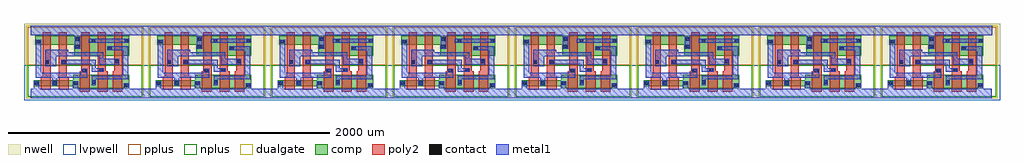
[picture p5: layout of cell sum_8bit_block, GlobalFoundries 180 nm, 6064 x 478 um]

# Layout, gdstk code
import gdstk
lib = gdstk.Library(unit=1e-6, precision=1e-07)
def R(c, l, rs):  # rectangles x0, y0, x1, y1
    for r in rs: c.add(gdstk.rectangle(r[:2], r[2:], *l))
def P(c, l, *ps):  # polygons
    for p in ps: c.add(gdstk.Polygon(p, *l))
nwell = (21, 0)
comp = (22, 0)
poly2 = (30, 0)
pplus = (31, 0)
nplus = (32, 0)
contact = (33, 0)
metal1 = (34, 0)
dualgate = (55, 0)
lvpwell = (204, 0)

sum_2bit_block = lib.new_cell('sum_2bit_block')
R(sum_2bit_block, nwell, [(-43,176,715,435)])
P(sum_2bit_block, comp, [(264,34),(264,46.5),(18,46.5),(18,82.5),(264,82.5),(264,116),(612,116),(612,34)],
  [(269,236),(269,302),(28,302),(28,358),(612,358),(612,236)])
P(sum_2bit_block, poly2, [(62,24.5),(62,104.5),(72,104.5),(72,380),(122,380),(122,24.5)],
  [(174,24.5),(174,380),(224,380),(224,104.5),(234,104.5),(234,24.5)],
  [(304,12),(304,138),(314,138),(314,380),(364,380),(364,12)],
  [(416,12),(416,380),(466,380),(466,138),(476,138),(476,12)],
  [(508,12),(508,138),(518,138),(518,380),(568,380),(568,12)])
R(sum_2bit_block, pplus, [(-20,176,692,412)])
R(sum_2bit_block, nplus, [(-20,-20,692,176)])
R(sum_2bit_block, contact, [(583,41,605,63), (25,53.5,47,75.5), (137,53.5,159,75.5), (267,53.5,289,75.5), (379,62,401,84), (323,133,345,155), (423,134.5,445,156.5), (90,185,112,207), (193.5,185,215.5,207), (525,187.5,547,209.5), (481,270,503,292), (277,282,299,304), (35,312,57,334), (379,316.5,401,338.5), (583,316.5,605,338.5), (277,329,299,351)])
R(sum_2bit_block, metal1, [(359,315.5,612,339)])
P(sum_2bit_block, metal1, [(271,279),(271,362),(0,362),(0,422),(664.1,422),(664.1,362),(305,362),(305,279)],
  [(0,-30),(0,30),(19,30),(19,76),(53,76),(53,30),(261,30),(261,76),(295,76),(295,30),(577,30),(577,63.5),(611,63.5),(611,30),(664,30),(664,-30)],
  [(131,53),(131,99),(29,99),(29,335),(63,335),(63,129),(317,129),(317,155.5),(351,155.5),(351,99),(165,99),(165,53)],
  [(378.5,134),(378.5,182),(187.5,182),(187.5,210),(401.5,210),(401.5,157),(452.5,157),(452.5,134)],
  [(88,169),(88,273),(232.5,273),(232.5,256),(449.5,256),(449.5,215.5),(549,215.5),(549,180),(425.5,180),(425.5,233),(156,233),(156,169)],
  [(378.5,53),(378.5,111),(572,111),(572,269.5),(475,269.5),(475,292.5),(604,292.5),(604,87.5),(401.5,87.5),(401.5,53)])
R(sum_2bit_block, dualgate, [(-28,-28,700,420)])
R(sum_2bit_block, lvpwell, [(-43,-43,715,176)])
sum_2bit_block.add(gdstk.Label('VDD', (336,391.5), layer=34, texttype=10))
sum_2bit_block.add(gdstk.Label('VSS', (336,0), layer=34, texttype=10))
sum_2bit_block.add(gdstk.Label('IN0_C-1', (358.7,196.5), layer=34, texttype=10))
sum_2bit_block.add(gdstk.Label('VDD', (336,391.5), layer=34, texttype=10))
sum_2bit_block.add(gdstk.Label('VSS', (336,0), layer=34, texttype=10))
sum_2bit_block.add(gdstk.Label('OUT_S0', (588.8,153.6), layer=34, texttype=10))
sum_2bit_block.add(gdstk.Label('IN1_P0', (196.3,252), layer=34, texttype=10))
sum_2bit_block.add(gdstk.Label('& Vendor GLOBALFOUNDRIES', (0,200), layer=63, texttype=63))
sum_2bit_block.add(gdstk.Label('& Product GF018hv5v_mcu_sc7', (0,150), layer=63, texttype=63))
sum_2bit_block.add(gdstk.Label('& Version 2015q2v1', (0,100), layer=63, texttype=63))
sum_2bit_block.add(gdstk.Label('& Metric 1.00', (0,50), layer=63, texttype=63))

sum_2bit_block_1 = lib.new_cell('sum_2bit_block$1')
R(sum_2bit_block_1, nwell, [(-43,176,715,435)])
P(sum_2bit_block_1, comp, [(264,34),(264,46.5),(18,46.5),(18,82.5),(264,82.5),(264,116),(612,116),(612,34)],
  [(269,236),(269,302),(28,302),(28,358),(612,358),(612,236)])
P(sum_2bit_block_1, poly2, [(62,24.5),(62,104.5),(72,104.5),(72,380),(122,380),(122,24.5)],
  [(174,24.5),(174,380),(224,380),(224,104.5),(234,104.5),(234,24.5)],
  [(304,12),(304,138),(314,138),(314,380),(364,380),(364,12)],
  [(416,12),(416,380),(466,380),(466,138),(476,138),(476,12)],
  [(508,12),(508,138),(518,138),(518,380),(568,380),(568,12)])
R(sum_2bit_block_1, pplus, [(-20,176,692,412)])
R(sum_2bit_block_1, nplus, [(-20,-20,692,176)])
R(sum_2bit_block_1, contact, [(583,41,605,63), (25,53.5,47,75.5), (137,53.5,159,75.5), (267,53.5,289,75.5), (379,62,401,84), (323,133,345,155), (423,134.5,445,156.5), (90,185,112,207), (193.5,185,215.5,207), (525,187.5,547,209.5), (481,270,503,292), (277,282,299,304), (35,312,57,334), (379,316.5,401,338.5), (583,316.5,605,338.5), (277,329,299,351)])
R(sum_2bit_block_1, metal1, [(359,315.5,612,339)])
P(sum_2bit_block_1, metal1, [(271,279),(271,362),(0,362),(0,422),(664.1,422),(664.1,362),(305,362),(305,279)],
  [(0,-30),(0,30),(19,30),(19,76),(53,76),(53,30),(261,30),(261,76),(295,76),(295,30),(577,30),(577,63.5),(611,63.5),(611,30),(664,30),(664,-30)],
  [(131,53),(131,99),(29,99),(29,335),(63,335),(63,129),(317,129),(317,155.5),(351,155.5),(351,99),(165,99),(165,53)],
  [(378.5,134),(378.5,182),(187.5,182),(187.5,210),(401.5,210),(401.5,157),(452.5,157),(452.5,134)],
  [(88,169),(88,273),(232.5,273),(232.5,256),(449.5,256),(449.5,215.5),(549,215.5),(549,180),(425.5,180),(425.5,233),(156,233),(156,169)],
  [(378.5,53),(378.5,111),(572,111),(572,269.5),(475,269.5),(475,292.5),(604,292.5),(604,87.5),(401.5,87.5),(401.5,53)])
R(sum_2bit_block_1, dualgate, [(-28,-28,700,420)])
R(sum_2bit_block_1, lvpwell, [(-43,-43,715,176)])
sum_2bit_block_1.add(gdstk.Label('VDD', (336,391.5), layer=34, texttype=10))
sum_2bit_block_1.add(gdstk.Label('VSS', (336,0), layer=34, texttype=10))
sum_2bit_block_1.add(gdstk.Label('IN0_C0', (358.7,196.5), layer=34, texttype=10))
sum_2bit_block_1.add(gdstk.Label('VDD', (336,391.5), layer=34, texttype=10))
sum_2bit_block_1.add(gdstk.Label('VSS', (336,0), layer=34, texttype=10))
sum_2bit_block_1.add(gdstk.Label('OUT_S1', (588,149.5), layer=34, texttype=10))
sum_2bit_block_1.add(gdstk.Label('IN1_P1', (196.3,252), layer=34, texttype=10))
sum_2bit_block_1.add(gdstk.Label('& Vendor GLOBALFOUNDRIES', (0,200), layer=63, texttype=63))
sum_2bit_block_1.add(gdstk.Label('& Product GF018hv5v_mcu_sc7', (0,150), layer=63, texttype=63))
sum_2bit_block_1.add(gdstk.Label('& Version 2015q2v1', (0,100), layer=63, texttype=63))
sum_2bit_block_1.add(gdstk.Label('& Metric 1.00', (0,50), layer=63, texttype=63))

sum_2bit_block_2 = lib.new_cell('sum_2bit_block$2')
R(sum_2bit_block_2, nwell, [(-43,176,715,435)])
P(sum_2bit_block_2, comp, [(264,34),(264,46.5),(18,46.5),(18,82.5),(264,82.5),(264,116),(612,116),(612,34)],
  [(269,236),(269,302),(28,302),(28,358),(612,358),(612,236)])
P(sum_2bit_block_2, poly2, [(62,24.5),(62,104.5),(72,104.5),(72,380),(122,380),(122,24.5)],
  [(174,24.5),(174,380),(224,380),(224,104.5),(234,104.5),(234,24.5)],
  [(304,12),(304,138),(314,138),(314,380),(364,380),(364,12)],
  [(416,12),(416,380),(466,380),(466,138),(476,138),(476,12)],
  [(508,12),(508,138),(518,138),(518,380),(568,380),(568,12)])
R(sum_2bit_block_2, pplus, [(-20,176,692,412)])
R(sum_2bit_block_2, nplus, [(-20,-20,692,176)])
R(sum_2bit_block_2, contact, [(583,41,605,63), (25,53.5,47,75.5), (137,53.5,159,75.5), (267,53.5,289,75.5), (379,62,401,84), (323,133,345,155), (423,134.5,445,156.5), (90,185,112,207), (193.5,185,215.5,207), (525,187.5,547,209.5), (481,270,503,292), (277,282,299,304), (35,312,57,334), (379,316.5,401,338.5), (583,316.5,605,338.5), (277,329,299,351)])
R(sum_2bit_block_2, metal1, [(359,315.5,612,339)])
P(sum_2bit_block_2, metal1, [(271,279),(271,362),(0,362),(0,422),(664.1,422),(664.1,362),(305,362),(305,279)],
  [(0,-30),(0,30),(19,30),(19,76),(53,76),(53,30),(261,30),(261,76),(295,76),(295,30),(577,30),(577,63.5),(611,63.5),(611,30),(664,30),(664,-30)],
  [(131,53),(131,99),(29,99),(29,335),(63,335),(63,129),(317,129),(317,155.5),(351,155.5),(351,99),(165,99),(165,53)],
  [(378.5,134),(378.5,182),(187.5,182),(187.5,210),(401.5,210),(401.5,157),(452.5,157),(452.5,134)],
  [(88,169),(88,273),(232.5,273),(232.5,256),(449.5,256),(449.5,215.5),(549,215.5),(549,180),(425.5,180),(425.5,233),(156,233),(156,169)],
  [(378.5,53),(378.5,111),(572,111),(572,269.5),(475,269.5),(475,292.5),(604,292.5),(604,87.5),(401.5,87.5),(401.5,53)])
R(sum_2bit_block_2, dualgate, [(-28,-28,700,420)])
R(sum_2bit_block_2, lvpwell, [(-43,-43,715,176)])
sum_2bit_block_2.add(gdstk.Label('VDD', (336,391.5), layer=34, texttype=10))
sum_2bit_block_2.add(gdstk.Label('VSS', (336,0), layer=34, texttype=10))
sum_2bit_block_2.add(gdstk.Label('IN0_C1', (358.7,196.5), layer=34, texttype=10))
sum_2bit_block_2.add(gdstk.Label('VDD', (336,391.5), layer=34, texttype=10))
sum_2bit_block_2.add(gdstk.Label('VSS', (336,0), layer=34, texttype=10))
sum_2bit_block_2.add(gdstk.Label('OUT_S2', (588.1,138.9), layer=34, texttype=10))
sum_2bit_block_2.add(gdstk.Label('IN1_P2', (196.3,252), layer=34, texttype=10))
sum_2bit_block_2.add(gdstk.Label('& Vendor GLOBALFOUNDRIES', (0,200), layer=63, texttype=63))
sum_2bit_block_2.add(gdstk.Label('& Product GF018hv5v_mcu_sc7', (0,150), layer=63, texttype=63))
sum_2bit_block_2.add(gdstk.Label('& Version 2015q2v1', (0,100), layer=63, texttype=63))
sum_2bit_block_2.add(gdstk.Label('& Metric 1.00', (0,50), layer=63, texttype=63))

sum_2bit_block_3 = lib.new_cell('sum_2bit_block$3')
R(sum_2bit_block_3, nwell, [(-43,176,715,435)])
P(sum_2bit_block_3, comp, [(264,34),(264,46.5),(18,46.5),(18,82.5),(264,82.5),(264,116),(612,116),(612,34)],
  [(269,236),(269,302),(28,302),(28,358),(612,358),(612,236)])
P(sum_2bit_block_3, poly2, [(62,24.5),(62,104.5),(72,104.5),(72,380),(122,380),(122,24.5)],
  [(174,24.5),(174,380),(224,380),(224,104.5),(234,104.5),(234,24.5)],
  [(304,12),(304,138),(314,138),(314,380),(364,380),(364,12)],
  [(416,12),(416,380),(466,380),(466,138),(476,138),(476,12)],
  [(508,12),(508,138),(518,138),(518,380),(568,380),(568,12)])
R(sum_2bit_block_3, pplus, [(-20,176,692,412)])
R(sum_2bit_block_3, nplus, [(-20,-20,692,176)])
R(sum_2bit_block_3, contact, [(583,41,605,63), (25,53.5,47,75.5), (137,53.5,159,75.5), (267,53.5,289,75.5), (379,62,401,84), (323,133,345,155), (423,134.5,445,156.5), (90,185,112,207), (193.5,185,215.5,207), (525,187.5,547,209.5), (481,270,503,292), (277,282,299,304), (35,312,57,334), (379,316.5,401,338.5), (583,316.5,605,338.5), (277,329,299,351)])
R(sum_2bit_block_3, metal1, [(359,315.5,612,339)])
P(sum_2bit_block_3, metal1, [(271,279),(271,362),(0,362),(0,422),(664.1,422),(664.1,362),(305,362),(305,279)],
  [(0,-30),(0,30),(19,30),(19,76),(53,76),(53,30),(261,30),(261,76),(295,76),(295,30),(577,30),(577,63.5),(611,63.5),(611,30),(664,30),(664,-30)],
  [(131,53),(131,99),(29,99),(29,335),(63,335),(63,129),(317,129),(317,155.5),(351,155.5),(351,99),(165,99),(165,53)],
  [(378.5,134),(378.5,182),(187.5,182),(187.5,210),(401.5,210),(401.5,157),(452.5,157),(452.5,134)],
  [(88,169),(88,273),(232.5,273),(232.5,256),(449.5,256),(449.5,215.5),(549,215.5),(549,180),(425.5,180),(425.5,233),(156,233),(156,169)],
  [(378.5,53),(378.5,111),(572,111),(572,269.5),(475,269.5),(475,292.5),(604,292.5),(604,87.5),(401.5,87.5),(401.5,53)])
R(sum_2bit_block_3, dualgate, [(-28,-28,700,420)])
R(sum_2bit_block_3, lvpwell, [(-43,-43,715,176)])
sum_2bit_block_3.add(gdstk.Label('VDD', (336,391.5), layer=34, texttype=10))
sum_2bit_block_3.add(gdstk.Label('VSS', (336,0), layer=34, texttype=10))
sum_2bit_block_3.add(gdstk.Label('IN0_C2', (358.7,196.5), layer=34, texttype=10))
sum_2bit_block_3.add(gdstk.Label('VDD', (336,391.5), layer=34, texttype=10))
sum_2bit_block_3.add(gdstk.Label('VSS', (336,0), layer=34, texttype=10))
sum_2bit_block_3.add(gdstk.Label('OUT_S3', (588.3,135.5), layer=34, texttype=10))
sum_2bit_block_3.add(gdstk.Label('IN1_P3', (196.3,252), layer=34, texttype=10))
sum_2bit_block_3.add(gdstk.Label('& Vendor GLOBALFOUNDRIES', (0,200), layer=63, texttype=63))
sum_2bit_block_3.add(gdstk.Label('& Product GF018hv5v_mcu_sc7', (0,150), layer=63, texttype=63))
sum_2bit_block_3.add(gdstk.Label('& Version 2015q2v1', (0,100), layer=63, texttype=63))
sum_2bit_block_3.add(gdstk.Label('& Metric 1.00', (0,50), layer=63, texttype=63))

sum_4bit_block = lib.new_cell('sum_4bit_block')
sum_4bit_block.add(gdstk.Reference(sum_2bit_block, (23,23)))
sum_4bit_block.add(gdstk.Reference(sum_2bit_block_1, (781,23)))
sum_4bit_block.add(gdstk.Reference(sum_2bit_block_2, (1539,23)))
sum_4bit_block.add(gdstk.Reference(sum_2bit_block_3, (2297,23)))

sum_2bit_block_5 = lib.new_cell('sum_2bit_block$5')
R(sum_2bit_block_5, nwell, [(-43,176,715,435)])
P(sum_2bit_block_5, comp, [(264,34),(264,46.5),(18,46.5),(18,82.5),(264,82.5),(264,116),(612,116),(612,34)],
  [(269,236),(269,302),(28,302),(28,358),(612,358),(612,236)])
P(sum_2bit_block_5, poly2, [(62,24.5),(62,104.5),(72,104.5),(72,380),(122,380),(122,24.5)],
  [(174,24.5),(174,380),(224,380),(224,104.5),(234,104.5),(234,24.5)],
  [(304,12),(304,138),(314,138),(314,380),(364,380),(364,12)],
  [(416,12),(416,380),(466,380),(466,138),(476,138),(476,12)],
  [(508,12),(508,138),(518,138),(518,380),(568,380),(568,12)])
R(sum_2bit_block_5, pplus, [(-20,176,692,412)])
R(sum_2bit_block_5, nplus, [(-20,-20,692,176)])
R(sum_2bit_block_5, contact, [(583,41,605,63), (25,53.5,47,75.5), (137,53.5,159,75.5), (267,53.5,289,75.5), (379,62,401,84), (323,133,345,155), (423,134.5,445,156.5), (90,185,112,207), (193.5,185,215.5,207), (525,187.5,547,209.5), (481,270,503,292), (277,282,299,304), (35,312,57,334), (379,316.5,401,338.5), (583,316.5,605,338.5), (277,329,299,351)])
R(sum_2bit_block_5, metal1, [(359,315.5,612,339)])
P(sum_2bit_block_5, metal1, [(271,279),(271,362),(0,362),(0,422),(664.1,422),(664.1,362),(305,362),(305,279)],
  [(0,-30),(0,30),(19,30),(19,76),(53,76),(53,30),(261,30),(261,76),(295,76),(295,30),(577,30),(577,63.5),(611,63.5),(611,30),(664,30),(664,-30)],
  [(131,53),(131,99),(29,99),(29,335),(63,335),(63,129),(317,129),(317,155.5),(351,155.5),(351,99),(165,99),(165,53)],
  [(378.5,134),(378.5,182),(187.5,182),(187.5,210),(401.5,210),(401.5,157),(452.5,157),(452.5,134)],
  [(88,169),(88,273),(232.5,273),(232.5,256),(449.5,256),(449.5,215.5),(549,215.5),(549,180),(425.5,180),(425.5,233),(156,233),(156,169)],
  [(378.5,53),(378.5,111),(572,111),(572,269.5),(475,269.5),(475,292.5),(604,292.5),(604,87.5),(401.5,87.5),(401.5,53)])
R(sum_2bit_block_5, dualgate, [(-28,-28,700,420)])
R(sum_2bit_block_5, lvpwell, [(-43,-43,715,176)])
sum_2bit_block_5.add(gdstk.Label('OUT_S4', (588.8,153.6), layer=34, texttype=10))
sum_2bit_block_5.add(gdstk.Label('VDD', (336,391.5), layer=34, texttype=10))
sum_2bit_block_5.add(gdstk.Label('VSS', (336,0), layer=34, texttype=10))
sum_2bit_block_5.add(gdstk.Label('IN0_C-1', (358.7,196.5), layer=34, texttype=10))
sum_2bit_block_5.add(gdstk.Label('VDD', (336,391.5), layer=34, texttype=10))
sum_2bit_block_5.add(gdstk.Label('VSS', (336,0), layer=34, texttype=10))
sum_2bit_block_5.add(gdstk.Label('IN1_P0', (196.3,252), layer=34, texttype=10))
sum_2bit_block_5.add(gdstk.Label('& Vendor GLOBALFOUNDRIES', (0,200), layer=63, texttype=63))
sum_2bit_block_5.add(gdstk.Label('& Product GF018hv5v_mcu_sc7', (0,150), layer=63, texttype=63))
sum_2bit_block_5.add(gdstk.Label('& Version 2015q2v1', (0,100), layer=63, texttype=63))
sum_2bit_block_5.add(gdstk.Label('& Metric 1.00', (0,50), layer=63, texttype=63))

sum_2bit_block_1_2 = lib.new_cell('sum_2bit_block$1$2')
R(sum_2bit_block_1_2, nwell, [(-43,176,715,435)])
P(sum_2bit_block_1_2, comp, [(264,34),(264,46.5),(18,46.5),(18,82.5),(264,82.5),(264,116),(612,116),(612,34)],
  [(269,236),(269,302),(28,302),(28,358),(612,358),(612,236)])
P(sum_2bit_block_1_2, poly2, [(62,24.5),(62,104.5),(72,104.5),(72,380),(122,380),(122,24.5)],
  [(174,24.5),(174,380),(224,380),(224,104.5),(234,104.5),(234,24.5)],
  [(304,12),(304,138),(314,138),(314,380),(364,380),(364,12)],
  [(416,12),(416,380),(466,380),(466,138),(476,138),(476,12)],
  [(508,12),(508,138),(518,138),(518,380),(568,380),(568,12)])
R(sum_2bit_block_1_2, pplus, [(-20,176,692,412)])
R(sum_2bit_block_1_2, nplus, [(-20,-20,692,176)])
R(sum_2bit_block_1_2, contact, [(583,41,605,63), (25,53.5,47,75.5), (137,53.5,159,75.5), (267,53.5,289,75.5), (379,62,401,84), (323,133,345,155), (423,134.5,445,156.5), (90,185,112,207), (193.5,185,215.5,207), (525,187.5,547,209.5), (481,270,503,292), (277,282,299,304), (35,312,57,334), (379,316.5,401,338.5), (583,316.5,605,338.5), (277,329,299,351)])
R(sum_2bit_block_1_2, metal1, [(359,315.5,612,339)])
P(sum_2bit_block_1_2, metal1, [(271,279),(271,362),(0,362),(0,422),(664.1,422),(664.1,362),(305,362),(305,279)],
  [(0,-30),(0,30),(19,30),(19,76),(53,76),(53,30),(261,30),(261,76),(295,76),(295,30),(577,30),(577,63.5),(611,63.5),(611,30),(664,30),(664,-30)],
  [(131,53),(131,99),(29,99),(29,335),(63,335),(63,129),(317,129),(317,155.5),(351,155.5),(351,99),(165,99),(165,53)],
  [(378.5,134),(378.5,182),(187.5,182),(187.5,210),(401.5,210),(401.5,157),(452.5,157),(452.5,134)],
  [(88,169),(88,273),(232.5,273),(232.5,256),(449.5,256),(449.5,215.5),(549,215.5),(549,180),(425.5,180),(425.5,233),(156,233),(156,169)],
  [(378.5,53),(378.5,111),(572,111),(572,269.5),(475,269.5),(475,292.5),(604,292.5),(604,87.5),(401.5,87.5),(401.5,53)])
R(sum_2bit_block_1_2, dualgate, [(-28,-28,700,420)])
R(sum_2bit_block_1_2, lvpwell, [(-43,-43,715,176)])
sum_2bit_block_1_2.add(gdstk.Label('OUT_S5', (588,149.5), layer=34, texttype=10))
sum_2bit_block_1_2.add(gdstk.Label('VDD', (336,391.5), layer=34, texttype=10))
sum_2bit_block_1_2.add(gdstk.Label('VSS', (336,0), layer=34, texttype=10))
sum_2bit_block_1_2.add(gdstk.Label('IN0_C0', (358.7,196.5), layer=34, texttype=10))
sum_2bit_block_1_2.add(gdstk.Label('VDD', (336,391.5), layer=34, texttype=10))
sum_2bit_block_1_2.add(gdstk.Label('VSS', (336,0), layer=34, texttype=10))
sum_2bit_block_1_2.add(gdstk.Label('IN1_P1', (196.3,252), layer=34, texttype=10))
sum_2bit_block_1_2.add(gdstk.Label('& Vendor GLOBALFOUNDRIES', (0,200), layer=63, texttype=63))
sum_2bit_block_1_2.add(gdstk.Label('& Product GF018hv5v_mcu_sc7', (0,150), layer=63, texttype=63))
sum_2bit_block_1_2.add(gdstk.Label('& Version 2015q2v1', (0,100), layer=63, texttype=63))
sum_2bit_block_1_2.add(gdstk.Label('& Metric 1.00', (0,50), layer=63, texttype=63))

sum_2bit_block_2_2 = lib.new_cell('sum_2bit_block$2$2')
R(sum_2bit_block_2_2, nwell, [(-43,176,715,435)])
P(sum_2bit_block_2_2, comp, [(264,34),(264,46.5),(18,46.5),(18,82.5),(264,82.5),(264,116),(612,116),(612,34)],
  [(269,236),(269,302),(28,302),(28,358),(612,358),(612,236)])
P(sum_2bit_block_2_2, poly2, [(62,24.5),(62,104.5),(72,104.5),(72,380),(122,380),(122,24.5)],
  [(174,24.5),(174,380),(224,380),(224,104.5),(234,104.5),(234,24.5)],
  [(304,12),(304,138),(314,138),(314,380),(364,380),(364,12)],
  [(416,12),(416,380),(466,380),(466,138),(476,138),(476,12)],
  [(508,12),(508,138),(518,138),(518,380),(568,380),(568,12)])
R(sum_2bit_block_2_2, pplus, [(-20,176,692,412)])
R(sum_2bit_block_2_2, nplus, [(-20,-20,692,176)])
R(sum_2bit_block_2_2, contact, [(583,41,605,63), (25,53.5,47,75.5), (137,53.5,159,75.5), (267,53.5,289,75.5), (379,62,401,84), (323,133,345,155), (423,134.5,445,156.5), (90,185,112,207), (193.5,185,215.5,207), (525,187.5,547,209.5), (481,270,503,292), (277,282,299,304), (35,312,57,334), (379,316.5,401,338.5), (583,316.5,605,338.5), (277,329,299,351)])
R(sum_2bit_block_2_2, metal1, [(359,315.5,612,339)])
P(sum_2bit_block_2_2, metal1, [(271,279),(271,362),(0,362),(0,422),(664.1,422),(664.1,362),(305,362),(305,279)],
  [(0,-30),(0,30),(19,30),(19,76),(53,76),(53,30),(261,30),(261,76),(295,76),(295,30),(577,30),(577,63.5),(611,63.5),(611,30),(664,30),(664,-30)],
  [(131,53),(131,99),(29,99),(29,335),(63,335),(63,129),(317,129),(317,155.5),(351,155.5),(351,99),(165,99),(165,53)],
  [(378.5,134),(378.5,182),(187.5,182),(187.5,210),(401.5,210),(401.5,157),(452.5,157),(452.5,134)],
  [(88,169),(88,273),(232.5,273),(232.5,256),(449.5,256),(449.5,215.5),(549,215.5),(549,180),(425.5,180),(425.5,233),(156,233),(156,169)],
  [(378.5,53),(378.5,111),(572,111),(572,269.5),(475,269.5),(475,292.5),(604,292.5),(604,87.5),(401.5,87.5),(401.5,53)])
R(sum_2bit_block_2_2, dualgate, [(-28,-28,700,420)])
R(sum_2bit_block_2_2, lvpwell, [(-43,-43,715,176)])
sum_2bit_block_2_2.add(gdstk.Label('OUT_S6', (588.1,138.9), layer=34, texttype=10))
sum_2bit_block_2_2.add(gdstk.Label('VDD', (336,391.5), layer=34, texttype=10))
sum_2bit_block_2_2.add(gdstk.Label('VSS', (336,0), layer=34, texttype=10))
sum_2bit_block_2_2.add(gdstk.Label('IN0_C1', (358.7,196.5), layer=34, texttype=10))
sum_2bit_block_2_2.add(gdstk.Label('VDD', (336,391.5), layer=34, texttype=10))
sum_2bit_block_2_2.add(gdstk.Label('VSS', (336,0), layer=34, texttype=10))
sum_2bit_block_2_2.add(gdstk.Label('IN1_P2', (196.3,252), layer=34, texttype=10))
sum_2bit_block_2_2.add(gdstk.Label('& Vendor GLOBALFOUNDRIES', (0,200), layer=63, texttype=63))
sum_2bit_block_2_2.add(gdstk.Label('& Product GF018hv5v_mcu_sc7', (0,150), layer=63, texttype=63))
sum_2bit_block_2_2.add(gdstk.Label('& Version 2015q2v1', (0,100), layer=63, texttype=63))
sum_2bit_block_2_2.add(gdstk.Label('& Metric 1.00', (0,50), layer=63, texttype=63))

sum_2bit_block_3_1 = lib.new_cell('sum_2bit_block$3$1')
R(sum_2bit_block_3_1, nwell, [(-43,176,715,435)])
P(sum_2bit_block_3_1, comp, [(264,34),(264,46.5),(18,46.5),(18,82.5),(264,82.5),(264,116),(612,116),(612,34)],
  [(269,236),(269,302),(28,302),(28,358),(612,358),(612,236)])
P(sum_2bit_block_3_1, poly2, [(62,24.5),(62,104.5),(72,104.5),(72,380),(122,380),(122,24.5)],
  [(174,24.5),(174,380),(224,380),(224,104.5),(234,104.5),(234,24.5)],
  [(304,12),(304,138),(314,138),(314,380),(364,380),(364,12)],
  [(416,12),(416,380),(466,380),(466,138),(476,138),(476,12)],
  [(508,12),(508,138),(518,138),(518,380),(568,380),(568,12)])
R(sum_2bit_block_3_1, pplus, [(-20,176,692,412)])
R(sum_2bit_block_3_1, nplus, [(-20,-20,692,176)])
R(sum_2bit_block_3_1, contact, [(583,41,605,63), (25,53.5,47,75.5), (137,53.5,159,75.5), (267,53.5,289,75.5), (379,62,401,84), (323,133,345,155), (423,134.5,445,156.5), (90,185,112,207), (193.5,185,215.5,207), (525,187.5,547,209.5), (481,270,503,292), (277,282,299,304), (35,312,57,334), (379,316.5,401,338.5), (583,316.5,605,338.5), (277,329,299,351)])
R(sum_2bit_block_3_1, metal1, [(359,315.5,612,339)])
P(sum_2bit_block_3_1, metal1, [(271,279),(271,362),(0,362),(0,422),(664.1,422),(664.1,362),(305,362),(305,279)],
  [(0,-30),(0,30),(19,30),(19,76),(53,76),(53,30),(261,30),(261,76),(295,76),(295,30),(577,30),(577,63.5),(611,63.5),(611,30),(664,30),(664,-30)],
  [(131,53),(131,99),(29,99),(29,335),(63,335),(63,129),(317,129),(317,155.5),(351,155.5),(351,99),(165,99),(165,53)],
  [(378.5,134),(378.5,182),(187.5,182),(187.5,210),(401.5,210),(401.5,157),(452.5,157),(452.5,134)],
  [(88,169),(88,273),(232.5,273),(232.5,256),(449.5,256),(449.5,215.5),(549,215.5),(549,180),(425.5,180),(425.5,233),(156,233),(156,169)],
  [(378.5,53),(378.5,111),(572,111),(572,269.5),(475,269.5),(475,292.5),(604,292.5),(604,87.5),(401.5,87.5),(401.5,53)])
R(sum_2bit_block_3_1, dualgate, [(-28,-28,700,420)])
R(sum_2bit_block_3_1, lvpwell, [(-43,-43,715,176)])
sum_2bit_block_3_1.add(gdstk.Label('OUT_S7', (588.3,135.5), layer=34, texttype=10))
sum_2bit_block_3_1.add(gdstk.Label('VDD', (336,391.5), layer=34, texttype=10))
sum_2bit_block_3_1.add(gdstk.Label('VSS', (336,0), layer=34, texttype=10))
sum_2bit_block_3_1.add(gdstk.Label('IN0_C2', (358.7,196.5), layer=34, texttype=10))
sum_2bit_block_3_1.add(gdstk.Label('VDD', (336,391.5), layer=34, texttype=10))
sum_2bit_block_3_1.add(gdstk.Label('VSS', (336,0), layer=34, texttype=10))
sum_2bit_block_3_1.add(gdstk.Label('IN1_P3', (196.3,252), layer=34, texttype=10))
sum_2bit_block_3_1.add(gdstk.Label('& Vendor GLOBALFOUNDRIES', (0,200), layer=63, texttype=63))
sum_2bit_block_3_1.add(gdstk.Label('& Product GF018hv5v_mcu_sc7', (0,150), layer=63, texttype=63))
sum_2bit_block_3_1.add(gdstk.Label('& Version 2015q2v1', (0,100), layer=63, texttype=63))
sum_2bit_block_3_1.add(gdstk.Label('& Metric 1.00', (0,50), layer=63, texttype=63))

sum_4bit_block_1 = lib.new_cell('sum_4bit_block$1')
sum_4bit_block_1.add(gdstk.Reference(sum_2bit_block_5, (23,23)))
sum_4bit_block_1.add(gdstk.Reference(sum_2bit_block_1_2, (781,23)))
sum_4bit_block_1.add(gdstk.Reference(sum_2bit_block_2_2, (1539,23)))
sum_4bit_block_1.add(gdstk.Reference(sum_2bit_block_3_1, (2297,23)))

sum_8bit_block = lib.new_cell('sum_8bit_block')
R(sum_8bit_block, metal1, [(22.5,-7,5987.5,53), (22.6,385.1,5994.2,445.1)])
sum_8bit_block.add(gdstk.Reference(sum_4bit_block, (-0.4,0)))
sum_8bit_block.add(gdstk.Reference(sum_4bit_block_1, (3031.6,0)))

lib.write_gds('sum_8bit_block.gds')
